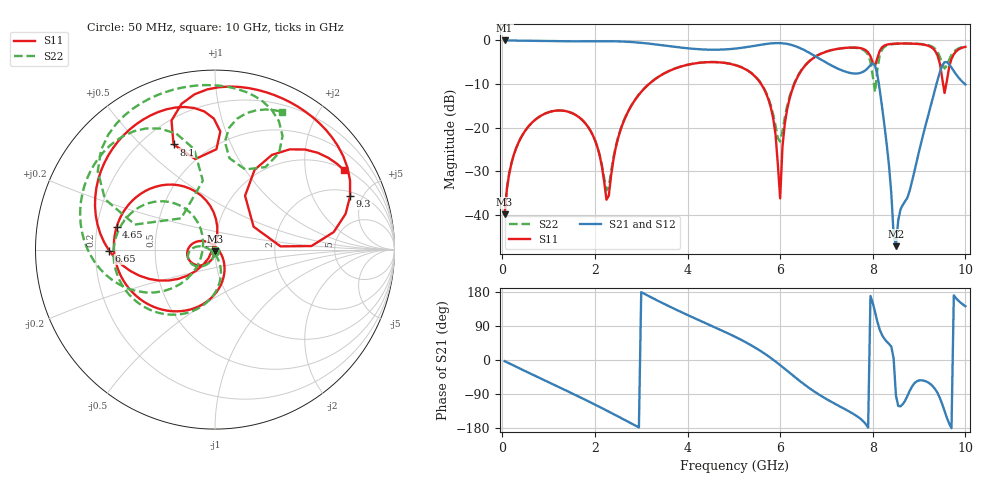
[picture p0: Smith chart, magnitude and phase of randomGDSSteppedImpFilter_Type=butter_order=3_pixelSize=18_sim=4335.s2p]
! freq	dB(S11)	phase(S11)	dB(S12)	phase(S12)
!  dB(S21)	phase(S21)	dB(S22)	phase(S22)
!S-par simulation data
#  GHz  S  DB  R 50
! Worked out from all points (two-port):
!   200 points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, 50 MHz to 10 GHz, reference 50 ohm
!   highest |S21| = -0.01 dB at 50 MHz (marker M1); lowest = -47.1 dB at 8.5 GHz (marker M2)
!   |S21| within 3 dB of the highest: start of sweep to 6.659 GHz
!   lowest |S11| = -39.8 dB at 50 MHz (marker M3), VSWR 1.02, Z = 50 - j1.02 ohm
!   |S11| at or under -10 dB: start of sweep to 3.167 GHz; 5.59 GHz to 6.307 GHz (716.9 MHz wide, 12.1 % of centre); 9.519 GHz to 9.587 GHz (67.8 MHz wide, 0.71 % of centre)
!   |S22| runs from -39.8 to -0.7 dB; largest |S21 - S12| = 0
!   S11 on the Smith chart (normalised r, x): 50 MHz: 1.00, -0.02; 4.65 GHz: 0.28, +0.10; 6.65 GHz: 0.26, -0.01; 8.1 GHz: 0.32, +0.63; 9.3 GHz: 2.31, +3.98; 10 GHz: 1.05, +3.23
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0.05  -39.83 -91.5  -0.01 -3.0  -0.01 -3.0  -39.83 -91.5
0.2  -28.02 -102.2  -0.03 -11.9  -0.03 -11.9  -28.02 -101.2
0.55  -19.91 -124.3  -0.09 -32.5  -0.09 -32.5  -19.91 -121.5
1.75  -18.48 160.1  -0.19 -102.5  -0.19 -102.5  -18.47 174.8
2.25  -36.49 66.0  -0.17 -133.1  -0.17 -133.1  -34.39 -147.4
2.65  -17.81 -65.7  -0.28 -158.6  -0.28 -158.6  -17.71 -75.3
3.4  -8.15 -118.8  -1.03 153.9  -1.03 153.9  -8.12 -115.2
4.65  -5.00 167.1  -2.12 83.0  -2.12 83.0  -4.97 179.8
5.05  -5.71 143.2  -1.85 59.9  -1.85 59.9  -5.68 159.2
5.75  -13.62 92.1  -0.74 9.6  -0.74 9.6  -13.31 122.6
6  -36.17 -172.6  -0.61 -13.5  -0.61 -13.5  -23.19 -176.3
6.15  -15.86 -132.1  -0.79 -28.4  -0.79 -28.4  -15.05 -133.7
6.65  -4.59 -179.4  -2.95 -75.9  -2.95 -75.9  -4.52 -163.2
6.7  -4.17 176.3  -3.25 -80.1  -3.25 -80.1  -4.10 -166.9
7.8  -1.97 98.3  -7.13 -162.4  -7.13 -162.4  -2.19 119.7
8  -5.05 89.2  -5.27 150.7  -5.27 150.7  -8.18 100.0
8.1  -4.02 111.5  -7.89 100.4  -7.89 100.4  -6.59 162.6
8.35  -0.87 88.7  -28.60 42.5  -28.60 42.5  -1.00 128.1
8.5  -0.73 78.2  -47.13 -93.5  -47.13 -93.5  -0.79 116.7
9.3  -1.84 21.5  -13.04 -69.8  -13.04 -69.8  -1.52 67.8
9.6  -9.28 60.8  -4.96 -152.7  -4.96 -152.7  -5.76 81.0
10  -1.47 31.5  -10.09 141.9  -10.09 141.9  -1.37 64.2
